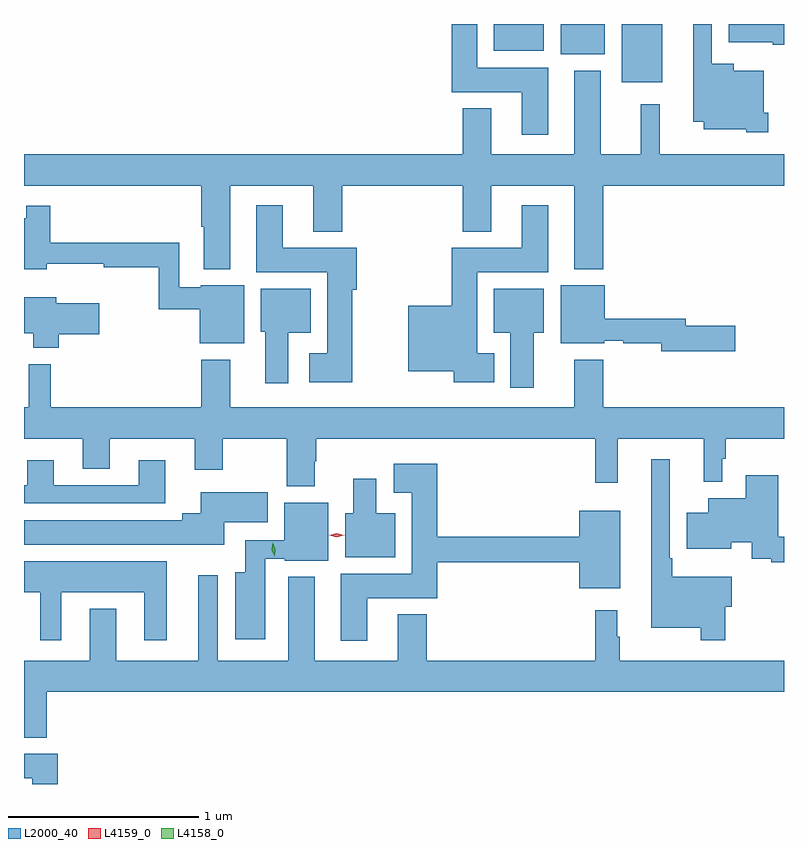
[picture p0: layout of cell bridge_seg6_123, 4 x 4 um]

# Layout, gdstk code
import gdstk
lib = gdstk.Library(unit=1e-6, precision=1e-09)
def R(c, l, rs):  # rectangles x0, y0, x1, y1
    for r in rs: c.add(gdstk.rectangle(r[:2], r[2:], *l))
def P(c, l, *ps):  # polygons
    for p in ps: c.add(gdstk.Polygon(p, *l))
L2000_40 = (2000, 40)
L4158_0 = (4158, 0)
L4159_0 = (4159, 0)

bridge_seg6_123 = lib.new_cell('bridge_seg6_123')
R(bridge_seg6_123, L2000_40, [(492.806,973.187,493.021,973.494), (492.485,973.334,492.718,973.494), (492.134,973.352,492.397,973.494)])
P(bridge_seg6_123, L2000_40, [(492.421,973.264),(492.046,973.264),(492.046,973.494),(491.912,973.494),(491.912,973.136),(492.281,973.136),(492.281,972.912),(492.421,972.912)],
  [(493.661,973.494),(493.37,973.494),(493.37,973.397),(493.602,973.397),(493.602,973.385),(493.661,973.385)],
  [(493.577,973.027),(493.555,973.027),(493.555,973.249),(493.396,973.249),(493.396,973.285),(493.281,973.285),(493.281,973.494),(493.184,973.494),(493.184,972.98),(493.238,972.98),(493.238,972.941),(493.461,972.941),(493.461,972.923),(493.577,972.923)],
  [(490.747,972.644),(491.183,972.644),(491.183,972.401),(491.336,972.401),(491.336,972.644),(491.969,972.644),(491.969,972.401),(492.121,972.401),(492.121,972.644),(492.557,972.644),(492.557,972.203),(492.71,972.203),(492.71,972.644),(493.661,972.644),(493.661,972.808),(493.008,972.808),(493.008,973.072),(492.908,973.072),(492.908,972.808),(492.697,972.808),(492.697,973.249),(492.557,973.249),(492.557,972.808),(492.121,972.808),(492.121,973.051),(491.969,973.051),(491.969,972.808),(489.661,972.808),(489.661,972.644),(490.595,972.644),(490.595,972.427),(490.607,972.427),(490.607,972.203),(490.747,972.203)],
  [(492.136,971.761),(492.046,971.761),(492.046,972.188),(492.421,972.188),(492.421,972.541),(492.281,972.541),(492.281,972.316),(491.912,972.316),(491.912,972.01),(491.684,972.01),(491.684,971.666),(491.924,971.666),(491.924,971.609),(492.136,971.609)],
  [(491.388,972.095),(491.411,972.095),(491.411,972.316),(491.023,972.316),(491.023,972.541),(490.883,972.541),(490.883,972.188),(491.258,972.188),(491.258,971.761),(491.163,971.761),(491.163,971.609),(491.388,971.609)],
  [(490.819,972.118),(490.59,972.118),(490.59,972.108),(490.479,972.108),(490.479,972.343),(489.8,972.343),(489.8,972.538),(489.672,972.538),(489.672,972.472),(489.661,972.472),(489.661,972.203),(489.781,972.203),(489.781,972.233),(490.082,972.233),(490.082,972.214),(490.371,972.214),(490.371,971.992),(490.586,971.992),(490.586,971.813),(490.819,971.813)],
  [(493.405,971.906),(493.144,971.906),(493.144,971.942),(492.718,971.942),(492.718,972.118),(492.485,972.118),(492.485,971.813),(492.714,971.813),(492.714,971.826),(492.814,971.826),(492.814,971.814),(493.016,971.814),(493.016,971.771),(493.405,971.771)],
  [(491.053,971.87),(491.17,971.87),(491.17,972.1),(490.907,972.1),(490.907,971.874),(490.931,971.874),(490.931,971.604),(491.053,971.604)],
  [(492.343,971.87),(492.397,971.87),(492.397,972.1),(492.134,972.1),(492.134,971.87),(492.221,971.87),(492.221,971.58),(492.343,971.58)],
  [(489.845,971.86),(490.057,971.86),(490.057,972.025),(489.832,972.025),(489.832,972.055),(489.661,972.055),(489.661,971.867),(489.71,971.867),(489.71,971.789),(489.845,971.789)],
  [(491.191,971.192),(491.199,971.192),(491.199,971.312),(492.667,971.312),(492.667,971.079),(492.785,971.079),(492.785,971.312),(493.238,971.312),(493.238,971.084),(493.335,971.084),(493.335,971.206),(493.355,971.206),(493.355,971.312),(493.661,971.312),(493.661,971.476),(492.71,971.476),(492.71,971.728),(492.557,971.728),(492.557,971.476),(490.747,971.476),(490.747,971.728),(490.595,971.728),(490.595,971.476),(489.803,971.476),(489.803,971.704),(489.686,971.704),(489.686,971.476),(489.661,971.476),(489.661,971.312),(489.971,971.312),(489.971,971.152),(490.111,971.152),(490.111,971.312),(490.559,971.312),(490.559,971.148),(490.707,971.148),(490.707,971.312),(491.044,971.312),(491.044,971.06),(491.191,971.06)],
  [(493.352,970.427),(493.387,970.427),(493.387,970.585),(493.072,970.585),(493.072,970.681),(493.059,970.681),(493.059,971.203),(492.962,971.203),(492.962,970.316),(493.224,970.316),(493.224,970.251),(493.352,970.251)],
  [(490.405,971.197),(490.265,971.197),(490.265,971.067),(489.817,971.067),(489.817,971.197),(489.677,971.197),(489.677,971.067),(489.661,971.067),(489.661,970.971),(490.405,970.971)],
  [(491.467,970.472),(491.837,970.472),(491.837,970.66),(492.584,970.66),(492.584,970.523),(492.799,970.523),(492.799,970.933),(492.584,970.933),(492.584,970.796),(491.837,970.796),(491.837,971.179),(491.607,971.179),(491.607,971.027),(491.702,971.027),(491.702,970.6),(491.327,970.6),(491.327,970.248),(491.467,970.248)],
  [(493.661,970.796),(493.631,970.796),(493.631,971.119),(493.46,971.119),(493.46,970.999),(493.262,970.999),(493.262,970.921),(493.148,970.921),(493.148,970.733),(493.384,970.733),(493.384,970.766),(493.49,970.766),(493.49,970.68),(493.594,970.68),(493.594,970.66),(493.661,970.66)],
  [(491.614,970.918),(491.515,970.918),(491.515,971.101),(491.393,971.101),(491.393,970.918),(491.351,970.918),(491.351,970.688),(491.614,970.688)],
  [(490.714,970.871),(490.945,970.871),(490.945,971.029),(490.592,971.029),(490.592,970.918),(490.493,970.918),(490.493,970.882),(489.661,970.882),(489.661,970.754),(490.714,970.754)],
  [(490.93,970.68),(491.034,970.68),(491.034,970.67),(491.263,970.67),(491.263,970.975),(491.03,970.975),(491.03,970.776),(490.826,970.776),(490.826,970.609),(490.772,970.609),(490.772,970.257),(490.93,970.257)],
  [(489.856,970.502),(490.295,970.502),(490.295,970.251),(490.411,970.251),(490.411,970.666),(489.661,970.666),(489.661,970.502),(489.746,970.502),(489.746,970.251),(489.856,970.251)],
  [(493.661,970.144),(492.796,970.144),(492.796,970.268),(492.784,970.268),(492.784,970.408),(492.667,970.408),(492.667,970.144),(491.78,970.144),(491.78,970.387),(491.627,970.387),(491.627,970.144),(491.191,970.144),(491.191,970.585),(491.051,970.585),(491.051,970.144),(490.681,970.144),(490.681,970.594),(490.577,970.594),(490.577,970.144),(490.147,970.144),(490.147,970.417),(490.007,970.417),(490.007,970.144),(489.661,970.144),(489.661,969.737),(489.782,969.737),(489.782,969.98),(493.661,969.98)],
  [(489.839,969.652),(489.661,969.652),(489.661,969.524),(489.704,969.524),(489.704,969.494),(489.839,969.494)])
P(bridge_seg6_123, L4158_0, [(490.98,970.693),(490.98,970.694),(490.965,970.727),(490.969,970.763),(490.969,970.763),(490.97,970.763),(490.984,970.73),(490.98,970.694)])
P(bridge_seg6_123, L4159_0, [(491.307,970.794),(491.268,970.804),(491.268,970.804),(491.268,970.804),(491.307,970.814),(491.345,970.804),(491.346,970.804),(491.345,970.804)])

lib.write_gds('bridge_seg6_123.gds')
